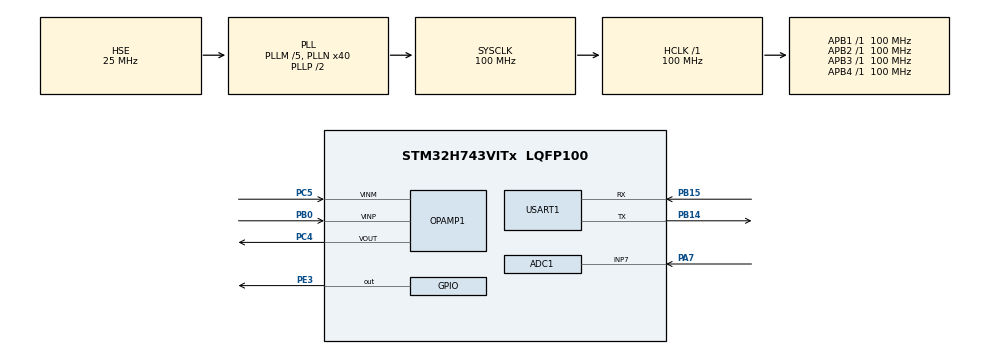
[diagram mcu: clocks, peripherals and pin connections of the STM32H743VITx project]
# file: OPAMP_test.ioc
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ADC1.Channel-0\#ChannelRegularConversion=ADC_CHANNEL_7
ADC1.NbrOfConversionFlag=1
ADC1.OffsetNumber-0\#ChannelRegularConversion=ADC_OFFSET_NONE
ADC1.OffsetSignedSaturation-0\#ChannelRegularConversion=DISABLE
ADC1.Rank-0\#ChannelRegularConversion=1
ADC1.SamplingTime-0\#ChannelRegularConversion=ADC_SAMPLETIME_1CYCLE_5
ADC1.master=1
Mcu.Family=STM32H7
Mcu.Name=STM32H743VITx
Mcu.Package=LQFP100
NVIC.PriorityGroup=NVIC_PRIORITYGROUP_4
NVIC.TIM1_UP_IRQn=true\:0\:0\:false\:false\:true\:true\:true\:true
NVIC.TIM6_DAC_IRQn=true\:0\:0\:false\:false\:true\:true\:true\:true
PA13\ (JTMS/SWDIO).Mode=Serial_Wire
PA13\ (JTMS/SWDIO).Signal=DEBUG_JTMS-SWDIO
PA14\ (JTCK/SWCLK).Mode=Serial_Wire
PA14\ (JTCK/SWCLK).Signal=DEBUG_JTCK-SWCLK
PA7.Signal=ADCx_INP7
PB0.GPIO_Mode=GPIO_MODE_ANALOG
PB0.GPIO_PuPd=GPIO_NOPULL
PB0.Signal=SharedAnalog_PB0
PB14.Mode=Asynchronous
PB14.Signal=USART1_TX
PB15.Mode=Asynchronous
PB15.Signal=USART1_RX
PC4.GPIO_Mode=GPIO_MODE_ANALOG
PC4.Signal=SharedAnalog_PC4
PC5.Signal=SharedAnalog_PC5
PE3.Signal=GPIO_Output
PH0-OSC_IN\ (PH0).Mode=HSE-External-Oscillator
PH0-OSC_IN\ (PH0).Signal=RCC_OSC_IN
PH1-OSC_OUT\ (PH1).Mode=HSE-External-Oscillator
PH1-OSC_OUT\ (PH1).Signal=RCC_OSC_OUT
ProjectManager.HeapSize=0x200
ProjectManager.StackSize=0x400
ProjectManager.TargetToolchain=STM32CubeIDE
RCC.ADCCLockSelection=RCC_ADCCLKSOURCE_CLKP
RCC.ADCFreq_Value=32000000
RCC.APB1Freq_Value=100000000
RCC.APB2Freq_Value=100000000
RCC.APB3Freq_Value=100000000
RCC.APB4Freq_Value=100000000
RCC.CortexFreq_Value=100000000
RCC.DIVM1=5
RCC.DIVN1=40
RCC.EnbaleCSS=false
RCC.HCLKFreq_Value=100000000
RCC.HSIDiv=RCC_PLLSAIDIVR_2
RCC.PLLSourceVirtual=RCC_PLLSOURCE_HSE
RCC.SYSCLKFreq_VALUE=100000000
RCC.SYSCLKSource=RCC_SYSCLKSOURCE_PLLCLK
RCC.USART16CLockSelection=RCC_USART16CLKSOURCE_HSI
RCC.USBFreq_Value=100000000
SH.ADCx_INP7.0=ADC1_INP7,IN7-Single-Ended
SH.SharedAnalog_PB0.0=GPIO_Analog
SH.SharedAnalog_PB0.1=OPAMP1_VINP,PGA Connected-INVERTINGINPUT_IO0_BIAS
SH.SharedAnalog_PC4.0=GPIO_Analog
SH.SharedAnalog_PC4.1=OPAMP1_VOUT,PGA Connected-INVERTINGINPUT_IO0_BIAS
SH.SharedAnalog_PC5.0=GPIO_Analog
SH.SharedAnalog_PC5.1=OPAMP1_VINM,PGA Connected-INVERTINGINPUT_IO0_BIAS
USART1.VirtualMode-Asynchronous=VM_ASYNC
VP_TIM1_VS_ClockSourceINT.Mode=Internal
VP_TIM6_VS_ClockSourceINT.Mode=Enable_Timer
board=custom

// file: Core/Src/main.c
/* USER CODE BEGIN Header */
/**
  ******************************************************************************
  * @file           : main.c
  * @brief          : Main program body
  ******************************************************************************
  * @attention
  *
  * Copyright (c) 2026 STMicroelectronics.
  * All rights reserved.
  *
  * This software is licensed under terms that can be found in the LICENSE file
  * in the root directory of this software component.
  * If no LICENSE file comes with this software, it is provided AS-IS.
  *
  ******************************************************************************
  */
/* USER CODE END Header */
#include "main.h"
#include "adc.h"
#include "opamp.h"
#include "tim.h"
#include "usart.h"
#include "gpio.h"

/* USER CODE BEGIN PV */
volatile uint16_t adc_value;
uint64_t last_time = 0;
uint8_t msg[64];
volatile uint32_t system_ticks = 0;  // Глобальный �?четчик тиков
uint8_t adc_ready =0;
uint8_t on = 0;
/* USER CODE END PV */

void SystemClock_Config(void);
void PeriphCommonClock_Config(void);
/* USER CODE BEGIN PFP */
void HAL_TIM_PeriodElapsedCallback(TIM_HandleTypeDef *htim)
{
        if(htim->Instance == TIM1)
        {
        	on = !on;
        	HAL_GPIO_WritePin(GPIOE, GPIO_PIN_3, on);
        }
}
/* USER CODE END PFP */

int main(void)
{
  /* USER CODE BEGIN 1 */
	uint8_t counter;
  /* USER CODE END 1 */

  /* MCU Configuration--------------------------------------------------------*/

  /* Reset of all peripherals, Initializes the Flash interface and the Systick. */
  HAL_Init();

  /* Configure the system clock */
  SystemClock_Config();

/* Configure the peripherals common clocks */
  PeriphCommonClock_Config();

  /* Initialize all configured peripherals */
  MX_GPIO_Init();
  MX_OPAMP1_Init();
  MX_ADC1_Init();
  MX_USART1_UART_Init();
  MX_TIM6_Init();
  MX_TIM1_Init();
  /* USER CODE BEGIN 2 */
//  HAL_OPAMP_Start(&hopamp1);
  // Изменим ко�?ф у�?илени�?
  HAL_OPAMP_Stop(&hopamp1);
  hopamp1.Init.PgaGain = OPAMP_PGA_GAIN_16_OR_MINUS_15;
  HAL_OPAMP_Start(&hopamp1);

  HAL_TIM_Base_Start_IT(&htim1);
   __HAL_TIM_SET_PRESCALER(&htim1,10-1);
   __HAL_TIM_SET_AUTORELOAD(&htim1,100-1);
  /* USER CODE END 2 */

  /* Infinite loop */
  while (1)
  {

    /* USER CODE BEGIN 3 */
//OPAMP_PGA_GAIN_2_OR_MINUS_1
//OPAMP_PGA_GAIN_4_OR_MINUS_3
//OPAMP_PGA_GAIN_8_OR_MINUS_7
//OPAMP_PGA_GAIN_16_OR_MINUS_15
//	  HAL_Delay(3000);
//	  counter ++;
//	  HAL_OPAMP_Stop(&hopamp1);

	  if(HAL_GetTick() - last_time >= 1){
	  			last_time = HAL_GetTick();
	  //			HAL_UART_Transmit(&huart1, msg, sprintf((char*)msg,"Test"),0xFFFF);
	  			HAL_ADC_Start(&hadc1);
	  			HAL_ADC_PollForConversion(&hadc1, 1);
	  			adc_value = HAL_ADC_GetValue(&hadc1);
	  			HAL_ADC_Stop(&hadc1);
	  			adc_ready = 1;
	  			HAL_UART_Transmit(&huart1, msg, sprintf((char*)msg,"%d",adc_value),100);
	  			HAL_UART_Transmit(&huart1, "\n", 1,100);

	  		}
//	  switch(counter){
//	  	  case 1: hopamp1.Init.PgaGain = OPAMP_PGA_GAIN_2_OR_MINUS_1;
//		  break;
//	  	  case 2: hopamp1.Init.PgaGain = OPAMP_PGA_GAIN_4_OR_MINUS_3;
//		  break;
//	  	  case 3: hopamp1.Init.PgaGain = OPAMP_PGA_GAIN_8_OR_MINUS_7;
//		  break;
//	  	  case 4: hopamp1.Init.PgaGain = OPAMP_PGA_GAIN_16_OR_MINUS_15;
//	  	  	  	  counter = 0;
//		  break;
//	  }
      if (HAL_OPAMP_Init(&hopamp1) != HAL_OK)
       {
          Error_Handler();
       }
      // Запу�?каем �?нова
//      HAL_OPAMP_Start(&hopamp1);

//	  HAL_Delay(400);
//	  HAL_GPIO_WritePin(GPIOE, GPIO_PIN_3, 0);
  }
  /* USER CODE END 3 */
}

void SystemClock_Config(void)
{
  RCC_OscInitTypeDef RCC_OscInitStruct = {0};
  RCC_ClkInitTypeDef RCC_ClkInitStruct = {0};

  /** Supply configuration update enable
  */
  HAL_PWREx_ConfigSupply(PWR_LDO_SUPPLY);

  /** Configure the main internal regulator output voltage
  */
  __HAL_PWR_VOLTAGESCALING_CONFIG(PWR_REGULATOR_VOLTAGE_SCALE3);

  while(!__HAL_PWR_GET_FLAG(PWR_FLAG_VOSRDY)) {}

  /** Initializes the RCC Oscillators according to the specified parameters
  * in the RCC_OscInitTypeDef structure.
  */
  RCC_OscInitStruct.OscillatorType = RCC_OSCILLATORTYPE_HSI|RCC_OSCILLATORTYPE_HSE;
  RCC_OscInitStruct.HSEState = RCC_HSE_ON;
  RCC_OscInitStruct.HSIState = RCC_HSI_DIV2;
  RCC_OscInitStruct.HSICalibrationValue = RCC_HSICALIBRATION_DEFAULT;
  RCC_OscInitStruct.PLL.PLLState = RCC_PLL_ON;
  RCC_OscInitStruct.PLL.PLLSource = RCC_PLLSOURCE_HSE;
  RCC_OscInitStruct.PLL.PLLM = 5;
  RCC_OscInitStruct.PLL.PLLN = 40;
  RCC_OscInitStruct.PLL.PLLP = 2;
  RCC_OscInitStruct.PLL.PLLQ = 2;
  RCC_OscInitStruct.PLL.PLLR = 2;
  RCC_OscInitStruct.PLL.PLLRGE = RCC_PLL1VCIRANGE_2;
  RCC_OscInitStruct.PLL.PLLVCOSEL = RCC_PLL1VCOWIDE;
  RCC_OscInitStruct.PLL.PLLFRACN = 0;
  if (HAL_RCC_OscConfig(&RCC_OscInitStruct) != HAL_OK)
  {
    Error_Handler();
  }

  /** Initializes the CPU, AHB and APB buses clocks
  */
  RCC_ClkInitStruct.ClockType = RCC_CLOCKTYPE_HCLK|RCC_CLOCKTYPE_SYSCLK
                              |RCC_CLOCKTYPE_PCLK1|RCC_CLOCKTYPE_PCLK2
                              |RCC_CLOCKTYPE_D3PCLK1|RCC_CLOCKTYPE_D1PCLK1;
  RCC_ClkInitStruct.SYSCLKSource = RCC_SYSCLKSOURCE_PLLCLK;
  RCC_ClkInitStruct.SYSCLKDivider = RCC_SYSCLK_DIV1;
  RCC_ClkInitStruct.AHBCLKDivider = RCC_HCLK_DIV1;
  RCC_ClkInitStruct.APB3CLKDivider = RCC_APB3_DIV1;
  RCC_ClkInitStruct.APB1CLKDivider = RCC_APB1_DIV1;
  RCC_ClkInitStruct.APB2CLKDivider = RCC_APB2_DIV1;
  RCC_ClkInitStruct.APB4CLKDivider = RCC_APB4_DIV1;

  if (HAL_RCC_ClockConfig(&RCC_ClkInitStruct, FLASH_LATENCY_2) != HAL_OK)
  {
    Error_Handler();
  }
}

void PeriphCommonClock_Config(void)
{
  RCC_PeriphCLKInitTypeDef PeriphClkInitStruct = {0};

  /** Initializes the peripherals clock
  */
  PeriphClkInitStruct.PeriphClockSelection = RCC_PERIPHCLK_CKPER;
  PeriphClkInitStruct.CkperClockSelection = RCC_CLKPSOURCE_HSI;
  if (HAL_RCCEx_PeriphCLKConfig(&PeriphClkInitStruct) != HAL_OK)
  {
    Error_Handler();
  }
}

void Error_Handler(void)
{
  __disable_irq();
  while (1)
  {
  }
}
